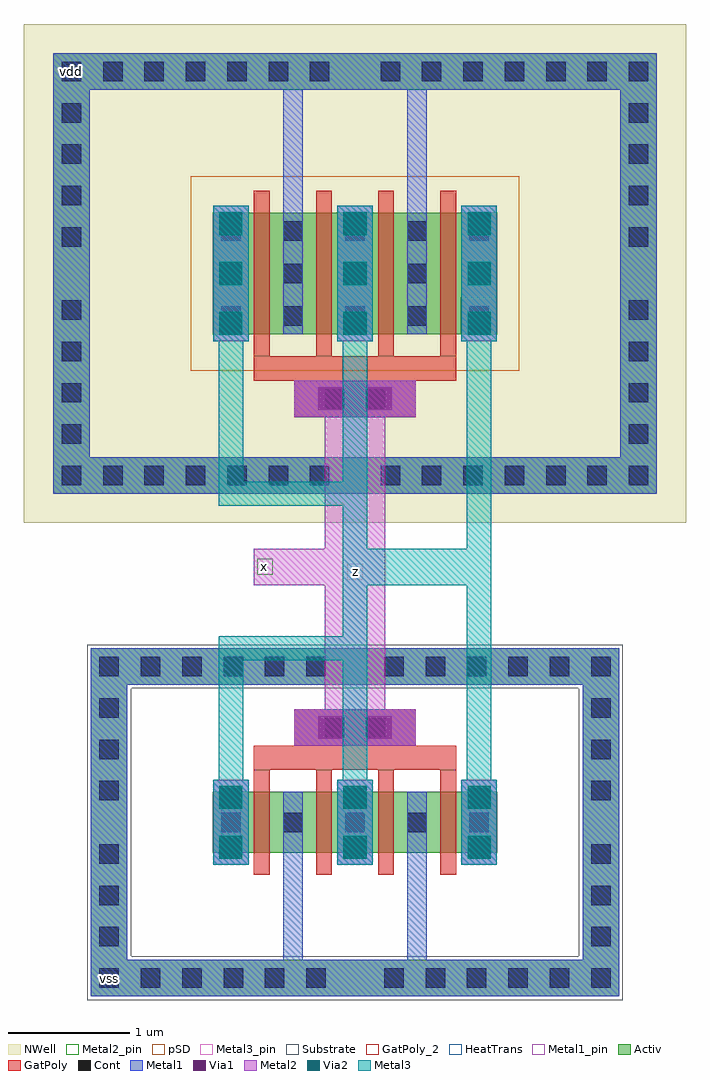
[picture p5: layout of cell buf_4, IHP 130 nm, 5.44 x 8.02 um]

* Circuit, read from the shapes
.subckt buf_4 vdd vss x z
XM1 vss x z vss sg13_lv_nmos w=0.5u l=0.13u m=4
XM2 vdd x z vdd sg13_lv_pmos w=1u l=0.13u m=4
.ends

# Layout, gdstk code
import gdstk
lib = gdstk.Library(unit=1e-6, precision=1e-09)
def R(c, l, rs):  # rectangles x0, y0, x1, y1
    for r in rs: c.add(gdstk.rectangle(r[:2], r[2:], *l))
def A(c, l, x, y, w, h, nx, ny, dx, dy):  # array of equal rectangles
    R(c, l, [(x+i*dx, y+j*dy, x+i*dx+w, y+j*dy+h) for i in range(nx) for j in range(ny)])
def P(c, l, *ps):  # polygons
    for p in ps: c.add(gdstk.Polygon(p, *l))
Activ = (1, 0)
GatPoly = (5, 0)
GatPoly_2 = (5, 2)
Cont = (6, 0)
Metal1 = (8, 0)
Metal1_pin = (8, 2)
Metal2 = (10, 0)
Metal2_pin = (10, 2)
pSD = (14, 0)
Via1 = (19, 0)
Via2 = (29, 0)
Metal3 = (30, 0)
Metal3_pin = (30, 2)
NWell = (31, 0)
Substrate = (40, 0)
HeatTrans = (51, 0)

via_stack_1 = lib.new_cell('via_stack$1')
R(via_stack_1, Metal1, [(-0.145,-0.35,0.145,0.35)])
R(via_stack_1, Metal2, [(-0.145,-0.35,0.145,0.35)])
R(via_stack_1, Via1, [(-0.095,-0.3,0.095,-0.11), (-0.095,0.11,0.095,0.3)])
R(via_stack_1, Via2, [(-0.095,-0.3,0.095,-0.11), (-0.095,0.11,0.095,0.3)])
R(via_stack_1, Metal3, [(-0.145,-0.35,0.145,0.35)])

via_stack_2 = lib.new_cell('via_stack$2')
R(via_stack_2, Metal1, [(-0.145,-0.555,0.145,0.555)])
R(via_stack_2, Metal2, [(-0.145,-0.555,0.145,0.555)])
A(via_stack_2, Via1, -0.095, -0.505, 0.19, 0.19, 1, 3, 0, 0.41)
A(via_stack_2, Via2, -0.095, -0.505, 0.19, 0.19, 1, 3, 0, 0.41)
R(via_stack_2, Metal3, [(-0.145,-0.555,0.145,0.555)])

via_2 = lib.new_cell('Via$2')
R(via_2, Metal1, [(-0.5,-0.15,0.5,0.15)])
R(via_2, Metal2, [(-0.5,-0.15,0.5,0.15)])
R(via_2, Via1, [(-0.3,-0.095,-0.11,0.095), (0.11,-0.095,0.3,0.095)])

via_3 = lib.new_cell('Via$3')
R(via_3, GatPoly, [(-0.5,-0.15,0.5,0.15)])
R(via_3, Cont, [(-0.25,-0.08,-0.09,0.08), (0.09,-0.08,0.25,0.08)])
R(via_3, Metal1, [(-0.5,-0.15,0.5,0.15)])

nmos_2 = lib.new_cell('nmos$2')
A(nmos_2, Activ, 0, 0, 0.3, 0.3, 5, 1, 0.51, 0)
R(nmos_2, Activ, [(-1,-0.88,-0.7,1.38), (3.04,-0.88,3.34,1.38), (0,0,2.34,0.5), (-1,1.38,3.34,1.68)])
P(nmos_2, Activ, [(-1,-1.18),(-1,1.38),(-0.7,1.38),(-0.7,-0.88),(3.04,-0.88),(3.04,1.38),(-1,1.38),(-1,1.68),(3.34,1.68),(3.34,-1.18)])
A(nmos_2, GatPoly, 0.34, -0.18, 0.13, 0.86, 4, 1, 0.51, 0)
R(nmos_2, GatPoly_2, [(0.34,-0.18,0.47,0.68)])
A(nmos_2, Cont, -0.93, -1.11, 0.16, 0.16, 6, 2, 0.34, 2.56)
A(nmos_2, Cont, 1.41, -1.11, 0.16, 0.16, 6, 2, 0.34, 2.56)
A(nmos_2, Cont, -0.93, -0.77, 0.16, 0.16, 1, 3, 0, 0.34)
A(nmos_2, Cont, 3.11, -0.77, 0.16, 0.16, 1, 3, 0, 0.34)
A(nmos_2, Cont, 0.07, 0.17, 0.16, 0.16, 5, 1, 0.51, 0)
A(nmos_2, Cont, -0.93, 0.43, 0.16, 0.16, 1, 3, 0, 0.34)
A(nmos_2, Cont, 3.11, 0.43, 0.16, 0.16, 1, 3, 0, 0.34)
A(nmos_2, Metal1, 0.07, 0, 0.16, 0.5, 5, 1, 0.51, 0)
R(nmos_2, Metal1, [(-1,-1.18,3.34,-0.88), (-1,-0.88,-0.7,1.38), (3.04,-0.88,3.34,1.38), (-1,1.38,3.34,1.68)])
R(nmos_2, Metal1_pin, [(0.07,0,0.23,0.5), (0.58,0,0.74,0.5)])
R(nmos_2, pSD, [(-1.03,-0.85,-0.67,1.35), (3.01,-0.85,3.37,1.35), (-1.03,1.35,3.37,1.71)])
P(nmos_2, pSD, [(-1.03,-1.21),(-1.03,1.35),(-0.67,1.35),(-0.67,-0.85),(3.01,-0.85),(3.01,1.35),(-1.03,1.35),(-1.03,1.71),(3.37,1.71),(3.37,-1.21)])
R(nmos_2, Substrate, [(-1.03,-0.85,-0.67,1.35), (3.01,-0.85,3.37,1.35), (-1.03,1.35,3.37,1.71)])
P(nmos_2, Substrate, [(-1.03,-1.21),(-1.03,1.35),(-0.67,1.35),(-0.67,-0.85),(3.01,-0.85),(3.01,1.35),(-1.03,1.35),(-1.03,1.71),(3.37,1.71),(3.37,-1.21)])
A(nmos_2, HeatTrans, 0.34, -0.18, 0.13, 0.86, 4, 1, 0.51, 0)
nmos_2.add(gdstk.Label('nmos', (0.405,0.25), layer=63, texttype=0))
nmos_2.add(gdstk.Label('sub!', (1.17,-1.03), layer=63, texttype=0))
nmos_2.add(gdstk.Label('nmos', (0.405,0.25), layer=51, texttype=0))
nmos_2.add(gdstk.Label('nmos', (0.915,0.25), layer=51, texttype=0))
nmos_2.add(gdstk.Label('nmos', (1.425,0.25), layer=51, texttype=0))
nmos_2.add(gdstk.Label('nmos', (1.935,0.25), layer=51, texttype=0))

pmos_2 = lib.new_cell('pmos$2')
A(pmos_2, Activ, 0, 0, 0.3, 0.3, 5, 1, 0.51, 0)
R(pmos_2, Activ, [(-1.31,-1.01,-1.01,2.01), (3.35,-1.01,3.65,2.01), (0,0,2.34,1), (-1.31,2.01,3.65,2.31)])
P(pmos_2, Activ, [(-1.31,-1.31),(-1.31,2.01),(-1.01,2.01),(-1.01,-1.01),(3.35,-1.01),(3.35,2.01),(-1.31,2.01),(-1.31,2.31),(3.65,2.31),(3.65,-1.31)])
A(pmos_2, GatPoly, 0.34, -0.18, 0.13, 1.36, 4, 1, 0.51, 0)
R(pmos_2, GatPoly, [(0.34,-0.18,0.47,1.18)])
A(pmos_2, Cont, -1.24, -1.24, 0.16, 0.16, 7, 2, 0.34, 3.32)
A(pmos_2, Cont, 1.38, -1.24, 0.16, 0.16, 7, 2, 0.34, 3.32)
A(pmos_2, Cont, -1.24, -0.9, 0.16, 0.16, 1, 4, 0, 0.34)
A(pmos_2, Cont, 3.42, -0.9, 0.16, 0.16, 1, 4, 0, 0.34)
A(pmos_2, Cont, 0.07, 0.07, 0.16, 0.16, 5, 3, 0.51, 0.35)
A(pmos_2, Cont, -1.24, 0.72, 0.16, 0.16, 1, 4, 0, 0.34)
A(pmos_2, Cont, 3.42, 0.72, 0.16, 0.16, 1, 4, 0, 0.34)
A(pmos_2, Metal1, 0.58, 0, 0.16, 1, 4, 1, 0.51, 0)
R(pmos_2, Metal1, [(-1.31,-1.31,3.65,-1.01), (-1.31,-1.01,-1.01,2.01), (3.35,-1.01,3.65,2.01), (0.07,0,0.23,1), (0.07,0,0.23,1), (0.58,0,0.74,1), (-1.31,2.01,3.65,2.31)])
R(pmos_2, pSD, [(-0.18,-0.3,2.52,1.3)])
R(pmos_2, NWell, [(-1.55,-1.55,3.89,2.55), (-0.31,-0.31,2.65,1.31)])
R(pmos_2, Substrate, [(2.04,0,2.34,0.3)])
A(pmos_2, HeatTrans, 0.34, -0.18, 0.13, 1.36, 4, 1, 0.51, 0)
pmos_2.add(gdstk.Label('pmos', (0.405,0.5), layer=63, texttype=0))
pmos_2.add(gdstk.Label('well', (1.17,-1.16), layer=63, texttype=0))
pmos_2.add(gdstk.Label('pmos', (0.405,0.5), layer=51, texttype=0))
pmos_2.add(gdstk.Label('pmos', (0.915,0.5), layer=51, texttype=0))
pmos_2.add(gdstk.Label('pmos', (1.425,0.5), layer=51, texttype=0))
pmos_2.add(gdstk.Label('pmos', (1.935,0.5), layer=51, texttype=0))

buf_4 = lib.new_cell('buf_4')
R(buf_4, Metal1_pin, [(0.635,0.115,0.765,0.245), (0.325,7.565,0.455,7.695)])
R(buf_4, Metal2_pin, [(1.915,3.495,2.045,3.625)])
R(buf_4, Metal3_pin, [(2.655,3.455,2.785,3.585)])
buf_4.add(gdstk.FlexPath([(1.89,3.56),(2.97,3.56)], 0.3, ends="flush", simple_path=True, layer=10, datatype=0))  # Metal2
buf_4.add(gdstk.FlexPath([(2.72,2.24),(2.72,4.94)], 0.5, ends="flush", simple_path=True, layer=10, datatype=0))  # Metal2
buf_4.add(gdstk.FlexPath([(1.7,5.47),(1.7,4.16),(2.8,4.16)], 0.2, ends="flush", simple_path=True, layer=30, datatype=0))  # Metal3
buf_4.add(gdstk.FlexPath([(2.72,5.47),(2.72,1.71)], 0.2, ends="flush", simple_path=True, layer=30, datatype=0))  # Metal3
buf_4.add(gdstk.FlexPath([(3.74,5.47),(3.74,1.71)], 0.2, ends="flush", simple_path=True, layer=30, datatype=0))  # Metal3
buf_4.add(gdstk.FlexPath([(1.7,1.71),(1.7,2.89),(2.8,2.89)], 0.2, ends="flush", simple_path=True, layer=30, datatype=0))  # Metal3
buf_4.add(gdstk.FlexPath([(3.84,3.56),(2.62,3.56)], 0.3, ends="flush", simple_path=True, layer=30, datatype=0))  # Metal3
buf_4.add(gdstk.FlexPath([(2.21,6.47),(2.21,7.78)], 0.16, ends="flush", simple_path=True, layer=8, datatype=0))  # Metal1
buf_4.add(gdstk.FlexPath([(3.23,6.47),(3.23,7.78)], 0.16, ends="flush", simple_path=True, layer=8, datatype=0))  # Metal1
buf_4.add(gdstk.FlexPath([(2.21,0.03),(2.21,1.21)], 0.16, ends="flush", simple_path=True, layer=8, datatype=0))  # Metal1
buf_4.add(gdstk.FlexPath([(3.23,0.03),(3.23,1.21)], 0.16, ends="flush", simple_path=True, layer=8, datatype=0))  # Metal1
buf_4.add(gdstk.FlexPath([(1.89,5.19),(3.55,5.19)], 0.2, ends="flush", simple_path=True, layer=5, datatype=0))  # GatPoly
buf_4.add(gdstk.FlexPath([(1.89,1.99),(3.55,1.99)], 0.2, ends="flush", simple_path=True, layer=5, datatype=0))  # GatPoly
buf_4.add(gdstk.Reference(via_stack_1, (1.7,1.46)))
buf_4.add(gdstk.Reference(via_stack_1, (2.72,1.46)))
buf_4.add(gdstk.Reference(via_stack_1, (3.74,1.46)))
buf_4.add(gdstk.Reference(via_stack_2, (1.7,5.97)))
buf_4.add(gdstk.Reference(via_stack_2, (2.72,5.97)))
buf_4.add(gdstk.Reference(via_stack_2, (3.74,5.97)))
buf_4.add(gdstk.Reference(via_2, (2.72,2.24)))
buf_4.add(gdstk.Reference(via_2, (2.72,4.94)))
buf_4.add(gdstk.Reference(via_3, (2.72,2.24)))
buf_4.add(gdstk.Reference(via_3, (2.72,4.94)))
buf_4.add(gdstk.Reference(nmos_2, (1.55,1.21)))
buf_4.add(gdstk.Reference(pmos_2, (1.55,5.47)))
buf_4.add(gdstk.Label('vdd', (0.39,7.63), layer=8, texttype=25))
buf_4.add(gdstk.Label('vss', (0.7,0.18), layer=8, texttype=25))
buf_4.add(gdstk.Label('x', (1.98,3.56), layer=10, texttype=25))
buf_4.add(gdstk.Label('z', (2.72,3.52), layer=30, texttype=25))

lib.write_gds('buf_4.gds')
